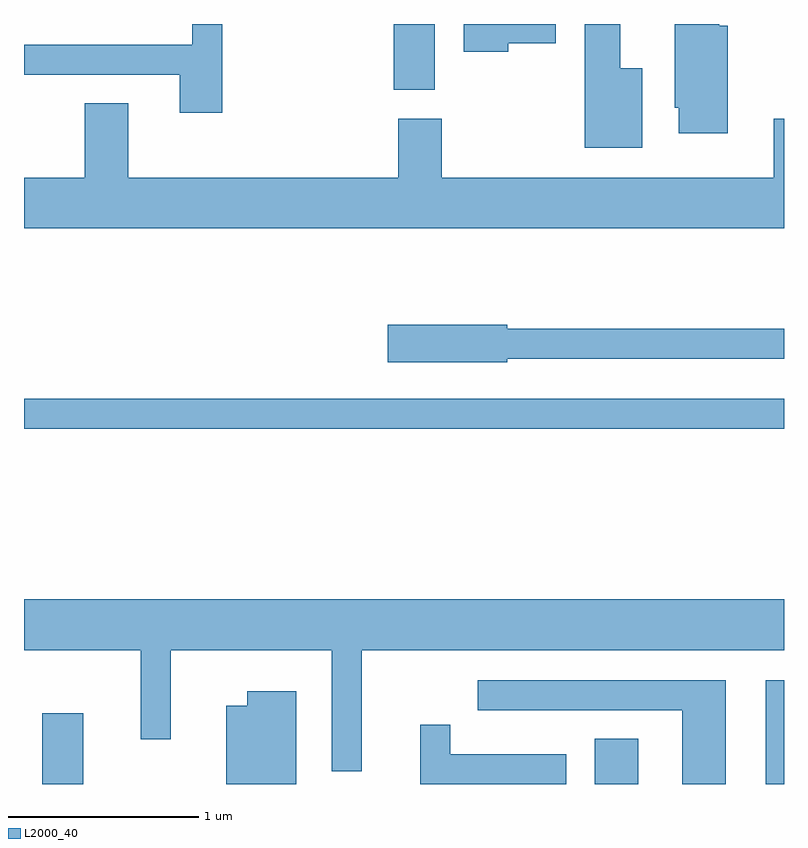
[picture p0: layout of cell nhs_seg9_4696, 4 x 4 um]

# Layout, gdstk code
import gdstk
lib = gdstk.Library(unit=1e-6, precision=1e-09)
def R(c, l, rs):  # rectangles x0, y0, x1, y1
    for r in rs: c.add(gdstk.rectangle(r[:2], r[2:], *l))
def P(c, l, *ps):  # polygons
    for p in ps: c.add(gdstk.Polygon(p, *l))
L2000_40 = (2000, 40)

nhs_seg9_4696 = lib.new_cell('nhs_seg9_4696')
R(nhs_seg9_4696, L2000_40, [(323.706,2004.432,323.924,2004.804), (326.616,2004.432,326.844,2004.669), (327.516,2004.432,327.611,2004.979), (323.611,2006.301,327.611,2006.459), (325.556,2008.086,325.774,2008.432)])
P(nhs_seg9_4696, L2000_40, [(327.314,2008.424),(327.269,2008.424),(327.269,2008.432),(327.036,2008.432),(327.036,2007.991),(327.056,2007.991),(327.056,2007.856),(327.314,2007.856)],
  [(326.864,2008.199),(326.749,2008.199),(326.749,2008.432),(326.561,2008.432),(326.561,2007.781),(326.864,2007.781)],
  [(324.654,2008.432),(324.496,2008.432),(324.496,2008.324),(323.611,2008.324),(323.611,2008.166),(324.431,2008.166),(324.431,2007.966),(324.654,2007.966)],
  [(326.159,2008.331),(326.409,2008.331),(326.409,2008.432),(325.926,2008.432),(325.926,2008.286),(326.159,2008.286)],
  [(327.611,2007.934),(327.556,2007.934),(327.556,2007.624),(325.809,2007.624),(325.809,2007.934),(325.581,2007.934),(325.581,2007.624),(324.159,2007.624),(324.159,2008.014),(323.931,2008.014),(323.931,2007.624),(323.611,2007.624),(323.611,2007.356),(327.611,2007.356)],
  [(326.154,2006.671),(327.611,2006.671),(327.611,2006.829),(326.154,2006.829),(326.154,2006.849),(325.526,2006.849),(325.526,2006.651),(326.154,2006.651)],
  [(325.389,2005.136),(327.611,2005.136),(327.611,2005.404),(323.611,2005.404),(323.611,2005.136),(324.226,2005.136),(324.226,2004.668),(324.384,2004.668),(324.384,2005.136),(325.231,2005.136),(325.231,2004.498),(325.389,2004.498)],
  [(327.304,2004.979),(325.998,2004.979),(325.998,2004.821),(327.076,2004.821),(327.076,2004.432),(327.304,2004.432)],
  [(325.044,2004.919),(324.786,2004.919),(324.786,2004.844),(324.676,2004.844),(324.676,2004.432),(325.044,2004.432)],
  [(326.464,2004.589),(325.854,2004.589),(325.854,2004.743),(325.696,2004.743),(325.696,2004.432),(326.464,2004.432)])

lib.write_gds('nhs_seg9_4696.gds')
